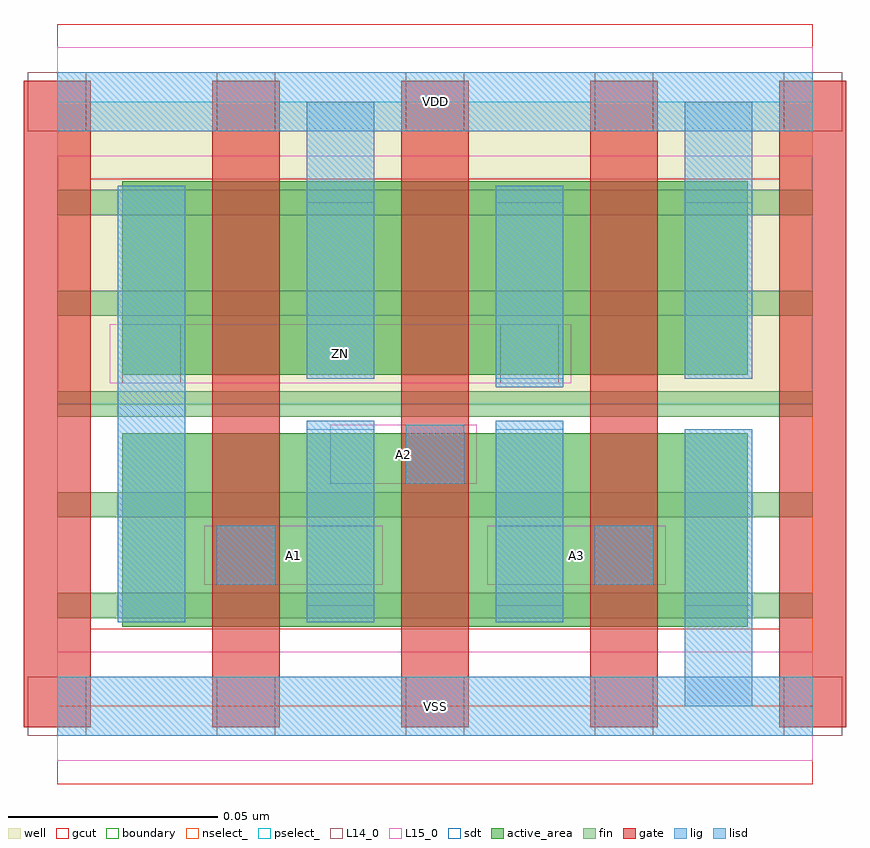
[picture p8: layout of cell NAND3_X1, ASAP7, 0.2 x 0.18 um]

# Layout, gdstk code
import gdstk
lib = gdstk.Library(unit=1e-6, precision=2.5e-10)
def R(c, l, rs):  # rectangles x0, y0, x1, y1
    for r in rs: c.add(gdstk.rectangle(r[:2], r[2:], *l))
def A(c, l, x, y, w, h, nx, ny, dx, dy):  # array of equal rectangles
    R(c, l, [(x+i*dx, y+j*dy, x+i*dx+w, y+j*dy+h) for i in range(nx) for j in range(ny)])
well = (1, 0)
fin = (2, 0)
gate = (7, 0)
gcut = (10, 0)
active_area = (11, 0)
nselect_ = (12, 0)
pselect_ = (13, 0)
L14_0 = (14, 0)
L15_0 = (15, 0)
lig = (16, 0)
lisd = (17, 0)
sdt = (88, 0)
boundary = (100, 0)

nand3_x1 = lib.new_cell('NAND3_X1')
R(nand3_x1, well, [(0,0.072,0.18,0.144)])
A(nand3_x1, fin, 0, 0.021, 0.18, 0.006, 1, 5, 0, 0.024)
A(nand3_x1, gate, -0.008, -0.005, 0.016, 0.154, 5, 1, 0.045, 0)
R(nand3_x1, gcut, [(0,-0.0185,0.18,0.0185), (-0.008,-0.005,0.008,0.149), (0.172,-0.005,0.188,0.149), (0,0.1255,0.18,0.1625)])
A(nand3_x1, active_area, 0.0155, 0.019, 0.059, 0.046, 3, 2, 0.045, 0.06)
R(nand3_x1, nselect_, [(0,0,0.18,0.072)])
R(nand3_x1, pselect_, [(0,0.072,0.18,0.144)])
A(nand3_x1, L14_0, -0.007, -0.007, 0.014, 0.014, 5, 2, 0.045, 0.144)
R(nand3_x1, L14_0, [(0.038,0.029,0.052,0.043), (0.128,0.029,0.142,0.043), (0.083,0.053,0.097,0.067), (0.0155,0.077,0.0295,0.091), (0.1055,0.077,0.1195,0.091)])
R(nand3_x1, L15_0, [(0,-0.013,0.18,0.013), (0.035,0.029,0.0775,0.043), (0.1025,0.029,0.145,0.043), (0.065,0.053,0.1,0.067), (0.0125,0.077,0.1225,0.091), (0,0.131,0.18,0.157)])
R(nand3_x1, lig, [(0,-0.007,0.18,0.007), (0.038,0.029,0.052,0.043), (0.128,0.029,0.142,0.043), (0.083,0.053,0.097,0.067), (0,0.137,0.18,0.151)])
R(nand3_x1, lisd, [(0.1495,0,0.1655,0.066), (0.0145,0.02,0.0305,0.124), (0.0595,0.02,0.0755,0.068), (0.0595,0.02,0.0755,0.068), (0.1045,0.02,0.1205,0.068), (0.1045,0.02,0.1205,0.068), (0.1045,0.076,0.1205,0.124), (0.1045,0.076,0.1205,0.124), (0.0595,0.078,0.0755,0.144), (0.0595,0.078,0.0755,0.144), (0.1495,0.078,0.1655,0.144)])
R(nand3_x1, sdt, [(0.0145,0.02,0.0305,0.124), (0.0595,0.024,0.0755,0.066), (0.0595,0.024,0.0755,0.066), (0.1045,0.024,0.1205,0.066), (0.1045,0.024,0.1205,0.066), (0.1495,0.024,0.1655,0.066), (0.0595,0.078,0.0755,0.12), (0.0595,0.078,0.0755,0.12), (0.1045,0.078,0.1205,0.12), (0.1045,0.078,0.1205,0.12), (0.1495,0.078,0.1655,0.12)])
R(nand3_x1, boundary, [(0,0,0.18,0.144)])
nand3_x1.add(gdstk.Label('VDD', (0.09,0.144), layer=1, texttype=251))
nand3_x1.add(gdstk.Label('VSS', (0.09,0), layer=3, texttype=251))
nand3_x1.add(gdstk.Label('A1', (0.0563,0.036), layer=15, texttype=251))
nand3_x1.add(gdstk.Label('A2', (0.0825,0.06), layer=15, texttype=251))
nand3_x1.add(gdstk.Label('ZN', (0.0675,0.084), layer=15, texttype=251))
nand3_x1.add(gdstk.Label('A3', (0.1237,0.036), layer=15, texttype=251))
nand3_x1.add(gdstk.Label('VSS', (0.09,0), layer=15, texttype=251))
nand3_x1.add(gdstk.Label('VDD', (0.09,0.144), layer=15, texttype=251))

lib.write_gds('NAND3_X1.gds')
